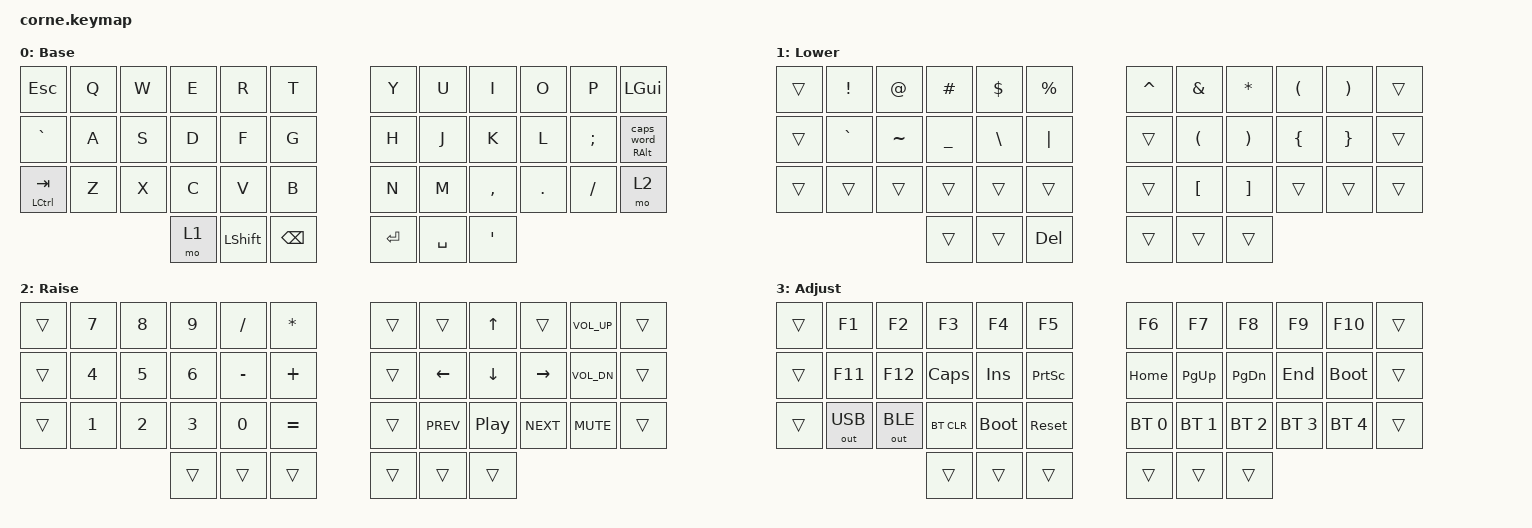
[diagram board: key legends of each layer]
/*
 * Copyright (c) 2020 The ZMK Contributors
 *
 * SPDX-License-Identifier: MIT
 */

#include <behaviors.dtsi>
#include <dt-bindings/zmk/keys.h>
#include <dt-bindings/zmk/bt.h>
#include <dt-bindings/zmk/outputs.h>

/ {
        behaviors {
                alt_caps: alt_caps {
                        compatible = "zmk,behavior-hold-tap";
                        #binding-cells = <2>;
                        flavor = "tap-preferred";
                        tapping-term-ms = <200>;
                        bindings = <&kp>, <&caps_word>;
                };

                tab_ctrl: tab_ctrl {
                        compatible = "zmk,behavior-hold-tap";
                        #binding-cells = <2>;
                        flavor = "tap-preferred";
                        tapping-term-ms = <200>;
                        bindings = <&kp>, <&kp>;
                };
        };

        conditional_layers {
                compatible = "zmk,conditional-layers";
                adjust_layer {
                        if-layers = <1 2>;
                        then-layer = <3>;
                };
        };

        // CW/AL: tap Caps Word, hold 200 ms for Right Alt / Option.
        keymap {
                compatible = "zmk,keymap";

                default_layer {
                        label = "Base";
// -----------------------------------------------------------------------------------------
// | ESC |  Q  |  W  |  E  |  R  |  T  |   |  Y  |  U  |  I  |  O  |  P  | GUI |
// |  `  |  A  |  S  |  D  |  F  |  G  |   |  H  |  J  |  K  |  L  |  ;  |CW/AL|
// |C/TAB|  Z  |  X  |  C  |  V  |  B  |   |  N  |  M  |  ,  |  .  |  /  | RSE |
//                   | LWR | SFT | BSPC|   | ENT | SPC |  '  |
                        bindings = <
   &kp ESC   &kp Q &kp W &kp E &kp R &kp T          &kp Y       &kp U &kp I &kp O &kp P    &kp LGUI
   &kp GRAVE &kp A &kp S &kp D &kp F &kp G          &kp H       &kp J &kp K &kp L &kp SEMI &alt_caps RALT 0
   &tab_ctrl LCTRL TAB &kp Z &kp X &kp C &kp V &kp B          &kp N       &kp M &kp COMMA &kp DOT &kp FSLH &mo 2
                    &mo 1 &kp LSHFT &kp BSPC        &kp RET &kp SPACE &kp SQT
                        >;
                };

                lower_layer {
                        label = "Lower";
// -----------------------------------------------------------------------------------------
// |     |  !  |  @  |  #  |  $  |  %  |   |  ^  |  &  |  *  |  (  |  )  |     |
// |     |  `  |  ~  |  _  |  \  |  |  |   |     |  (  |  )  |  {  |  }  |     |
// |     |     |     |     |     |     |   |     |  [  |  ]  |     |     |     |
//                   |     |     | DEL |   |     |     |     |
                        bindings = <
   &trans &kp EXCL  &kp AT    &kp HASH  &kp DLLR &kp PRCNT       &kp CARET &kp AMPS &kp STAR &kp LPAR &kp RPAR &trans
   &trans &kp GRAVE &kp TILDE &kp UNDER &kp BSLH &kp PIPE        &trans    &kp LPAR &kp RPAR &kp LBRC &kp RBRC &trans
   &trans &trans    &trans    &trans    &trans   &trans          &trans    &kp LBKT &kp RBKT &trans   &trans   &trans
                              &trans &trans &kp DEL              &trans &trans &trans
                        >;
                };

                raise_layer {
                        label = "Raise";
// -----------------------------------------------------------------------------------------
// |     |  7  |  8  |  9  |  /  |  *  |   |     |     | UP  |     | VOL+|     |
// |     |  4  |  5  |  6  |  -  |  +  |   |     | LFT | DWN | RGT | VOL-|     |
// |     |  1  |  2  |  3  |  0  |  =  |   |     | PREV| PLAY| NEXT| MUTE|     |
//                   |     |     |     |   |     |     |     |
                        bindings = <
   &trans &kp N7 &kp N8 &kp N9 &kp FSLH  &kp STAR       &trans &trans     &kp UP   &trans     &kp C_VOL_UP &trans
   &trans &kp N4 &kp N5 &kp N6 &kp MINUS &kp PLUS       &trans &kp LEFT   &kp DOWN &kp RIGHT  &kp C_VOL_DN &trans
   &trans &kp N1 &kp N2 &kp N3 &kp N0    &kp EQUAL      &trans &kp C_PREV &kp C_PP &kp C_NEXT &kp C_MUTE   &trans
                        &trans &trans &trans            &trans &trans &trans
                        >;
                };

                adjust_layer {
                        label = "Adjust";
// -----------------------------------------------------------------------------------------
// |     | F1  | F2  | F3  | F4  | F5  |   | F6  | F7  | F8  | F9  | F10 |     |
// |     | F11 | F12 | CAPS| INS |PSCRN|   | HOME| PGUP| PGDN| END | BOOT|     |
// |     | USB | BLE |BTCLR| BOOT|RESET|   | BT1 | BT2 | BT3 | BT4 | BT5 |     |
//                   |     |     |     |   |     |     |     |
                        bindings = <
   &trans &kp F1       &kp F2       &kp F3     &kp F4       &kp F5           &kp F6       &kp F7       &kp F8       &kp F9       &kp F10      &trans
   &trans &kp F11      &kp F12      &kp CAPS   &kp INS      &kp PSCRN        &kp HOME     &kp PG_UP    &kp PG_DN    &kp END      &bootloader  &trans
   &trans &out OUT_USB &out OUT_BLE &bt BT_CLR &bootloader  &sys_reset       &bt BT_SEL 0 &bt BT_SEL 1 &bt BT_SEL 2 &bt BT_SEL 3 &bt BT_SEL 4 &trans
                                    &trans &trans &trans                     &trans &trans &trans
                        >;
                };
        };
};
